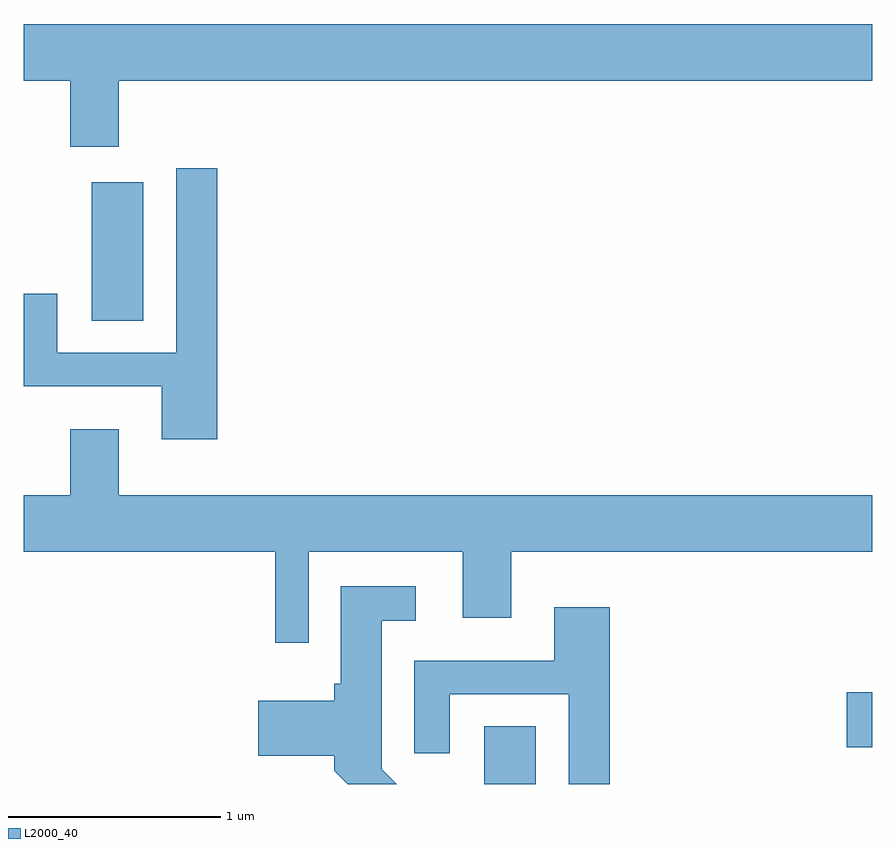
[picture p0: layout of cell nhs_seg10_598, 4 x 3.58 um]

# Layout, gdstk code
import gdstk
lib = gdstk.Library(unit=1e-6, precision=1e-09)
def R(c, l, rs):  # rectangles x0, y0, x1, y1
    for r in rs: c.add(gdstk.rectangle(r[:2], r[2:], *l))
def P(c, l, *ps):  # polygons
    for p in ps: c.add(gdstk.Polygon(p, *l))
L2000_40 = (2000, 40)

nhs_seg10_598 = lib.new_cell('nhs_seg10_598')
R(nhs_seg10_598, L2000_40, [(203.781,2190.522,204.024,2190.794), (205.491,2190.696,205.611,2190.954), (201.931,2192.706,202.174,2193.359)])
P(nhs_seg10_598, L2000_40, [(202.059,2193.836),(205.611,2193.836),(205.611,2194.104),(201.611,2194.104),(201.611,2193.836),(201.831,2193.836),(201.831,2193.526),(202.059,2193.526)],
  [(202.524,2193.424),(202.331,2193.424),(202.331,2192.554),(201.769,2192.554),(201.769,2192.833),(201.611,2192.833),(201.611,2192.396),(202.261,2192.396),(202.261,2192.146),(202.524,2192.146)],
  [(202.954,2191.616),(203.681,2191.616),(203.681,2191.306),(203.909,2191.306),(203.909,2191.616),(205.611,2191.616),(205.611,2191.884),(202.059,2191.884),(202.059,2192.194),(201.831,2192.194),(201.831,2191.884),(201.611,2191.884),(201.611,2191.616),(202.796,2191.616),(202.796,2191.188),(202.954,2191.188)],
  [(203.299,2190.592),(203.299,2191.291),(203.458,2191.291),(203.458,2191.454),(203.106,2191.454),(203.106,2190.994),(203.076,2190.994),(203.076,2190.914),(202.716,2190.914),(202.716,2190.656),(203.076,2190.656),(203.076,2190.584),(203.138,2190.522),(203.369,2190.522)],
  [(204.374,2191.354),(204.111,2191.354),(204.111,2191.104),(203.451,2191.104),(203.451,2190.668),(203.619,2190.668),(203.619,2190.946),(204.181,2190.946),(204.181,2190.522),(204.374,2190.522)])

lib.write_gds('nhs_seg10_598.gds')
